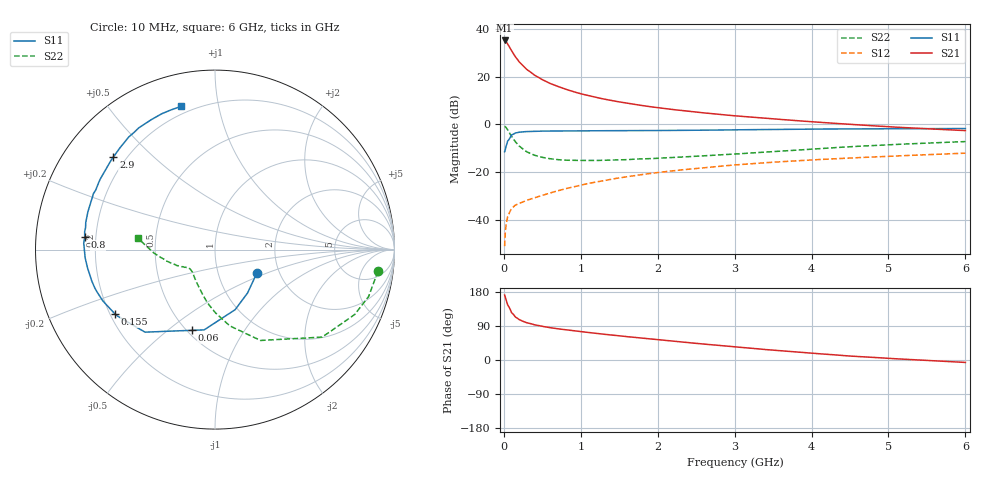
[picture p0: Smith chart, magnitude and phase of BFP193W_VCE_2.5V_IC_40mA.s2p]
! Infineon Technologies  Discrete & RF Semiconductors
! BFP193W
! VCE = 2.5 V,  IC =  40 mA
! Common Emitter S-Parameters:  Jan 2016
# GHz  S  MA  R  50
!  f  S11  S21  S12  S22
! GHz  MAG  ANG  MAG  ANG  MAG  ANG  MAG  ANG
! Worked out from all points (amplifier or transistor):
!   210 points, 10 MHz to 6 GHz, reference 50 ohm
!   highest |S21| = 35.2 dB at 10 MHz (marker M1)
!   |S21| within 3 dB of that: start of sweep to 76.62 MHz
!   unconditionally stable (mu >= 1): 655.1 MHz to 3.933 GHz
!   at 185 MHz: K = 0.51, MSG = 30.1 dB, |S12| = -33.4 dB
!   at 1.52 GHz: K = 1.13, MAG = 13.6 dB, |S12| = -22.3 dB
!   at 6 GHz: K = 0.94, MSG = 4.7 dB, |S12| = -12.1 dB
!   S11 on the Smith chart (normalised r, x): 10 MHz: 1.54, -0.42; 60 MHz: 0.53, -0.61; 155 MHz: 0.22, -0.28; 800 MHz: 0.16, +0.05; 2.9 GHz: 0.15, +0.38; 6 GHz: 0.16, +0.78
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0.01  0.2672 -28.6  57.62 171.5  0.0028 83.7  0.9158 -7.6
0.02  0.3022 -53.1  56.4 164.7  0.0057 76.2  0.8949 -17.0
0.03  0.3531 -71.5  54.45 157.7  0.0079 72.7  0.8584 -24.9
0.05  0.4514 -97.7  48.6 145.3  0.0117 61.1  0.7711 -39.2
0.06  0.4673 -105.7  45.54 142.2  0.0127 58.0  0.7217 -42.9
0.1  0.603 -130.3  35.13 125.1  0.0172 49.4  0.5662 -63.4
0.15  0.6606 -146.3  26.13 113.4  0.0203 43.9  0.433 -79.0
0.155  0.6625 -147.2  25.55 112.9  0.0205 43.9  0.4244 -79.9
0.2  0.6871 -155.4  20.46 106.6  0.022 43.6  0.3521 -89.6
0.24  0.6985 -160.3  17.52 102.8  0.0234 44.4  0.3117 -95.8
0.3  0.7086 -165.8  14.12 98.2  0.0257 46.3  0.2654 -104.2
0.4  0.7178 -172.0  10.75 92.8  0.0287 48.6  0.2257 -114.1
0.6  0.7273 -179.8  7.25 85.3  0.0363 54.5  0.1909 -127.2
0.8  0.7292 174.5  5.48 79.7  0.0448 58.3  0.1779 -134.4
1.02  0.7321 170.0  4.315 74.5  0.0544 60.2  0.1757 -139.8
1.4  0.7388 162.5  3.171 65.9  0.0712 61.0  0.1796 -145.0
2.02  0.7459 151.5  2.226 53.1  0.0989 59.2  0.1962 -149.8
2.9  0.7658 137.7  1.57 36.7  0.1368 53.8  0.2344 -158.5
3.1  0.7717 134.7  1.472 33.1  0.1451 52.3  0.2451 -160.8
4.1  0.8007 120.9  1.11 16.5  0.1835 44.8  0.3104 -172.6
5.1  0.8133 110.6  0.876 3.2  0.2179 37.9  0.3808 177.2
6  0.82 103.3  0.742 -6.4  0.2495 32.3  0.4365 171.2
